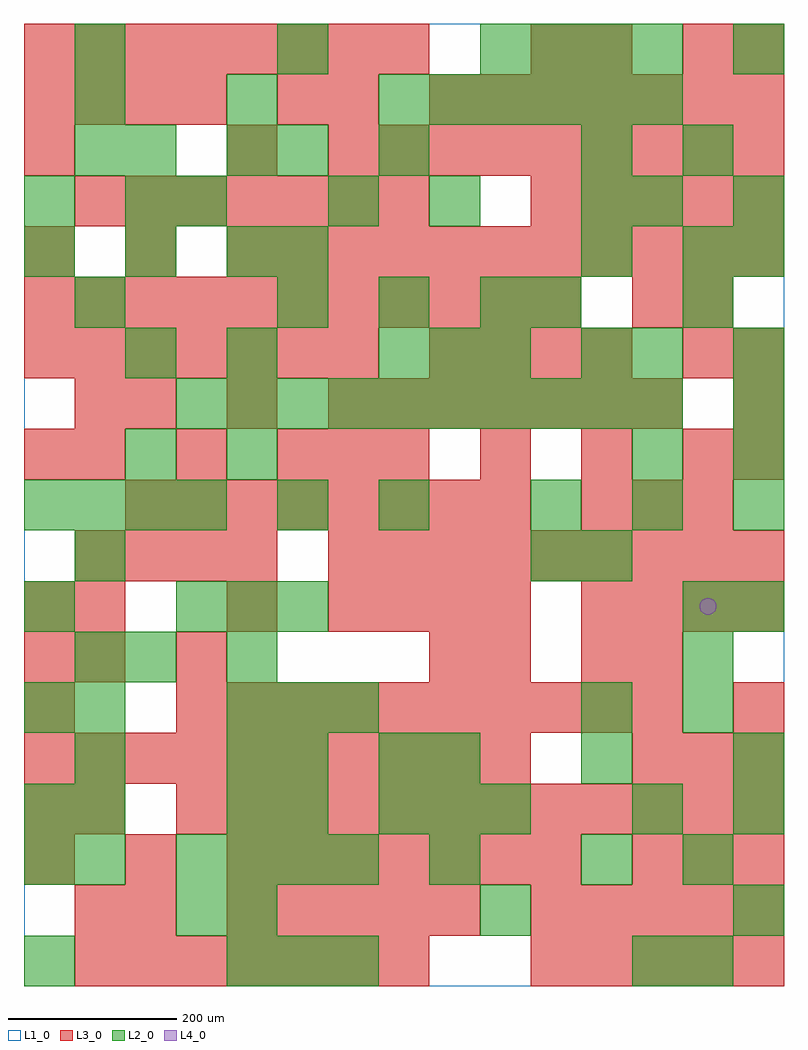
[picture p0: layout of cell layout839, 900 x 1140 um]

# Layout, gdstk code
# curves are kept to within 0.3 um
import gdstk
lib = gdstk.Library(unit=1e-6, precision=1e-09)
def R(c, l, rs):  # rectangles x0, y0, x1, y1
    for r in rs: c.add(gdstk.rectangle(r[:2], r[2:], *l))
def A(c, l, x, y, w, h, nx, ny, dx, dy):  # array of equal rectangles
    R(c, l, [(x+i*dx, y+j*dy, x+i*dx+w, y+j*dy+h) for i in range(nx) for j in range(ny)])
def P(c, l, *ps):  # polygons
    for p in ps: c.add(gdstk.Polygon(p, *l))
L1_0 = (1, 0)
L2_0 = (2, 0)
L3_0 = (3, 0)
L4_0 = (4, 0)

layout839 = lib.new_cell('layout839')
R(layout839, L1_0, [(0,0,900,1140)])
A(layout839, L2_0, 240, 0, 60, 60, 3, 2, 60, 300)
A(layout839, L2_0, 240, 60, 60, 60, 3, 1, 300, 0)
A(layout839, L2_0, 60, 120, 60, 60, 1, 5, 0, 60)
A(layout839, L2_0, 180, 120, 60, 60, 4, 1, 60, 0)
A(layout839, L2_0, 660, 120, 60, 60, 1, 3, 0, 180)
A(layout839, L2_0, 0, 180, 60, 60, 1, 3, 0, 120)
A(layout839, L2_0, 420, 180, 60, 60, 3, 2, 60, 540)
A(layout839, L2_0, 300, 240, 60, 60, 1, 3, 0, 300)
A(layout839, L2_0, 480, 240, 60, 60, 3, 1, 180, 0)
A(layout839, L2_0, 780, 300, 60, 60, 1, 3, 0, 60)
A(layout839, L2_0, 180, 420, 60, 60, 3, 1, 60, 0)
A(layout839, L2_0, 0, 540, 60, 60, 4, 1, 60, 0)
A(layout839, L2_0, 600, 540, 60, 60, 3, 1, 120, 0)
A(layout839, L2_0, 840, 600, 60, 60, 1, 3, 0, 60)
A(layout839, L2_0, 180, 660, 60, 60, 10, 1, 60, 0)
A(layout839, L2_0, 300, 780, 60, 60, 3, 1, 120, 0)
A(layout839, L2_0, 0, 840, 60, 60, 3, 1, 120, 0)
A(layout839, L2_0, 660, 840, 60, 60, 1, 3, 0, 60)
A(layout839, L2_0, 60, 1020, 60, 60, 3, 1, 180, 0)
A(layout839, L2_0, 480, 1020, 60, 60, 5, 1, 60, 0)
A(layout839, L2_0, 60, 1080, 60, 60, 3, 1, 240, 0)
A(layout839, L2_0, 600, 1080, 60, 60, 3, 1, 60, 0)
R(layout839, L2_0, [(0,0,60,60), (720,0,780,60), (780,0,840,60), (180,60,240,120), (0,120,60,180), (480,120,540,180), (780,120,840,180), (240,180,300,240), (300,180,360,240), (720,180,780,240), (840,180,900,240), (240,240,300,300), (420,240,480,300), (120,360,180,420), (240,360,300,420), (840,420,900,480), (60,480,120,540), (600,480,660,540), (420,540,480,600), (120,600,180,660), (240,600,300,660), (720,600,780,660), (120,720,180,780), (240,720,300,780), (660,720,720,780), (720,720,780,780), (60,780,120,840), (600,780,660,840), (780,780,840,840), (780,840,840,900), (840,840,900,900), (0,900,60,960), (120,900,180,960), (180,900,240,960), (360,900,420,960), (480,900,540,960), (720,900,780,960), (840,900,900,960), (60,960,120,1020), (120,960,180,1020), (240,960,300,1020), (300,960,360,1020), (420,960,480,1020), (780,960,840,1020), (840,1080,900,1140)])
A(layout839, L3_0, 60, 0, 60, 60, 7, 2, 60, 900)
A(layout839, L3_0, 600, 0, 60, 60, 5, 2, 60, 60)
A(layout839, L3_0, 240, 60, 60, 60, 5, 1, 60, 0)
A(layout839, L3_0, 0, 120, 60, 60, 3, 2, 120, 720)
A(layout839, L3_0, 300, 120, 60, 60, 6, 1, 60, 0)
A(layout839, L3_0, 720, 120, 60, 60, 3, 2, 60, 120)
A(layout839, L3_0, 180, 180, 60, 60, 12, 1, 60, 0)
A(layout839, L3_0, 0, 240, 60, 60, 10, 1, 60, 0)
A(layout839, L3_0, 0, 300, 60, 60, 1, 3, 0, 60)
A(layout839, L3_0, 180, 300, 60, 60, 10, 1, 60, 0)
A(layout839, L3_0, 360, 420, 60, 60, 4, 1, 60, 0)
A(layout839, L3_0, 660, 420, 60, 60, 4, 1, 60, 0)
A(layout839, L3_0, 60, 480, 60, 60, 4, 1, 60, 0)
A(layout839, L3_0, 360, 480, 60, 60, 9, 2, 60, 480)
A(layout839, L3_0, 120, 540, 60, 60, 8, 1, 60, 0)
A(layout839, L3_0, 660, 540, 60, 60, 3, 1, 60, 0)
A(layout839, L3_0, 60, 600, 60, 60, 3, 1, 120, 0)
A(layout839, L3_0, 420, 600, 60, 60, 4, 1, 120, 0)
A(layout839, L3_0, 840, 600, 60, 60, 1, 3, 0, 60)
A(layout839, L3_0, 120, 660, 60, 60, 3, 1, 120, 0)
A(layout839, L3_0, 420, 660, 60, 60, 6, 1, 60, 0)
A(layout839, L3_0, 0, 720, 60, 60, 7, 1, 60, 0)
A(layout839, L3_0, 480, 720, 60, 60, 4, 1, 60, 0)
A(layout839, L3_0, 0, 780, 60, 60, 11, 1, 60, 0)
A(layout839, L3_0, 300, 840, 60, 60, 10, 1, 60, 0)
A(layout839, L3_0, 600, 900, 60, 60, 5, 1, 60, 0)
A(layout839, L3_0, 0, 1020, 60, 60, 4, 1, 60, 0)
A(layout839, L3_0, 480, 1020, 60, 60, 7, 1, 60, 0)
A(layout839, L3_0, 0, 1080, 60, 60, 8, 1, 60, 0)
R(layout839, L3_0, [(60,60,120,120), (120,60,180,120), (0,180,60,240), (60,180,120,240), (840,300,900,360), (60,360,120,420), (180,360,240,420), (480,360,540,420), (540,360,600,420), (660,360,720,420), (720,360,780,420), (60,420,120,480), (240,420,300,480), (0,600,60,660), (360,600,420,660), (60,660,120,720), (780,720,840,780), (720,780,780,840), (780,780,840,840), (0,960,60,1020), (240,960,300,1020), (300,1020,360,1080), (360,1020,420,1080), (600,1080,660,1140), (660,1080,720,1140), (780,1080,840,1140), (840,1080,900,1140)])
P(layout839, L4_0, [(820,450),(819.239,453.827),(817.071,457.071),(813.827,459.239),(810,460),(806.173,459.239),(802.929,457.071),(800.761,453.827),(800,450),(800.761,446.173),(802.929,442.929),(806.173,440.761),(810,440),(813.827,440.761),(817.071,442.929),(819.239,446.173)])

lib.write_gds('layout839.gds')
